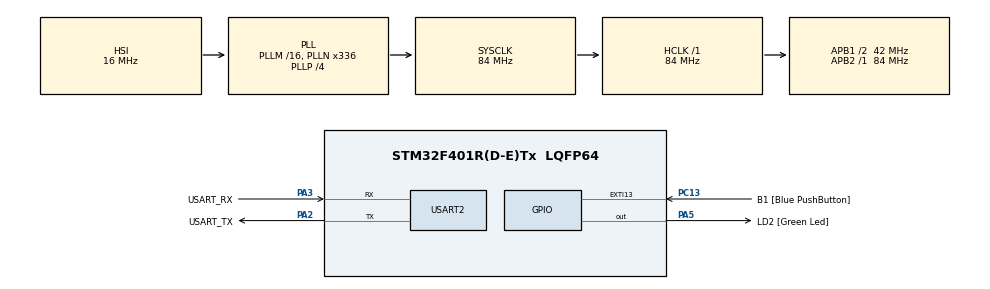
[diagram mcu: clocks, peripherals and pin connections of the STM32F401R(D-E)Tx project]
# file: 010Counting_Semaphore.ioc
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Mcu.Family=STM32F4
Mcu.Name=STM32F401R(D-E)Tx
Mcu.Package=LQFP64
NVIC.EXTI15_10_IRQn=true\:6\:0\:true\:false\:true\:true\:true\:true
NVIC.PriorityGroup=NVIC_PRIORITYGROUP_4
NVIC.TIM2_IRQn=true\:15\:0\:false\:false\:true\:false\:true\:true
NVIC.TimeBase=TIM2_IRQn
NVIC.TimeBaseIP=TIM2
NVIC.USART2_IRQn=true\:6\:0\:true\:false\:true\:true\:true\:true
PA13.GPIO_Label=TMS
PA13.Signal=SYS_JTMS-SWDIO
PA14.GPIO_Label=TCK
PA14.Signal=SYS_JTCK-SWCLK
PA2.GPIO_Label=USART_TX
PA2.GPIO_Mode=GPIO_MODE_AF_PP
PA2.GPIO_PuPd=GPIO_NOPULL
PA2.GPIO_Speed=GPIO_SPEED_FREQ_LOW
PA2.Mode=Asynchronous
PA2.Signal=USART2_TX
PA3.GPIO_Label=USART_RX
PA3.GPIO_Mode=GPIO_MODE_AF_PP
PA3.GPIO_PuPd=GPIO_NOPULL
PA3.GPIO_Speed=GPIO_SPEED_FREQ_LOW
PA3.Mode=Asynchronous
PA3.Signal=USART2_RX
PA5.GPIO_Label=LD2 [Green Led]
PA5.GPIO_Mode=GPIO_MODE_OUTPUT_PP
PA5.GPIO_PuPd=GPIO_NOPULL
PA5.GPIO_Speed=GPIO_SPEED_FREQ_LOW
PA5.Signal=GPIO_Output
PB3.GPIO_Label=SWO
PB3.Signal=SYS_JTDO-SWO
PC13-ANTI_TAMP.GPIO_Label=B1 [Blue PushButton]
PC13-ANTI_TAMP.GPIO_ModeDefaultEXTI=GPIO_MODE_IT_FALLING
PC13-ANTI_TAMP.GPIO_PuPd=GPIO_NOPULL
PC13-ANTI_TAMP.Signal=GPXTI13
PC14-OSC32_IN.Signal=RCC_OSC32_IN
PC15-OSC32_OUT.Signal=RCC_OSC32_OUT
PH0\ -\ OSC_IN.Signal=RCC_OSC_IN
PH1\ -\ OSC_OUT.Signal=RCC_OSC_OUT
ProjectManager.HeapSize=0x200
ProjectManager.StackSize=0x400
ProjectManager.TargetToolchain=STM32CubeIDE
RCC.AHBFreq_Value=84000000
RCC.APB1CLKDivider=RCC_HCLK_DIV2
RCC.APB1Freq_Value=42000000
RCC.APB1TimFreq_Value=84000000
RCC.APB2Freq_Value=84000000
RCC.APB2TimFreq_Value=84000000
RCC.CortexFreq_Value=84000000
RCC.HCLKFreq_Value=84000000
RCC.HSE_VALUE=8000000
RCC.HSI_VALUE=16000000
RCC.LSE_VALUE=32768
RCC.PLLN=336
RCC.PLLP=RCC_PLLP_DIV4
RCC.PLLQ=7
RCC.SYSCLKFreq_VALUE=84000000
RCC.SYSCLKSource=RCC_SYSCLKSOURCE_PLLCLK
RCC.VCOOutputFreq_Value=336000000
USART2.VirtualMode=VM_ASYNC
VP_SYS_VS_tim2.Mode=TIM2
board=NUCLEO-F401RE

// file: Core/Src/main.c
/* USER CODE BEGIN Header */
/**
  ******************************************************************************
  * @file           : main.c
  * @brief          : Main program body
  ******************************************************************************
  * @attention
  *
  * Copyright (c) 2026 STMicroelectronics.
  * All rights reserved.
  *
  * This software is licensed under terms that can be found in the LICENSE file
  * in the root directory of this software component.
  * If no LICENSE file comes with this software, it is provided AS-IS.
  *
  ******************************************************************************
  */
/* USER CODE END Header */
#include "main.h"

/* USER CODE BEGIN Includes */

#include <stdio.h>
#include "FreeRTOS.h"
#include "task.h"
#include "semphr.h"

/* USER CODE END Includes */

UART_HandleTypeDef huart2;

/* USER CODE BEGIN PV */

SemaphoreHandle_t xCountingSemaphore;

/* USER CODE END PV */

void SystemClock_Config(void);
static void MX_GPIO_Init(void);
static void MX_USART2_UART_Init(void);
/* USER CODE BEGIN PFP */

void vHandlerTask(void *argument);
void vPeriodicTask(void *argument);

/* USER CODE END PFP */

/* USER CODE BEGIN 0 */

int __io_putchar(int ch)
{
    HAL_UART_Transmit(&huart2, (uint8_t *)&ch, 1, HAL_MAX_DELAY);
    return ch;
}

/* USER CODE END 0 */

int main(void)
{

  /* MCU Configuration--------------------------------------------------------*/

  /* Reset of all peripherals, Initializes the Flash interface and the Systick. */
  HAL_Init();

  /* Configure the system clock */
  SystemClock_Config();

  /* Initialize all configured peripherals */
  MX_GPIO_Init();
  MX_USART2_UART_Init();
  /* USER CODE BEGIN 2 */

  printf("\r\nCounting Semaphore Demo Started\r\n");

  xCountingSemaphore = xSemaphoreCreateCounting(10, 0);

  HAL_NVIC_SetPriority(EXTI15_10_IRQn, 5, 0);
  HAL_NVIC_EnableIRQ(EXTI15_10_IRQn);

  xTaskCreate(vHandlerTask,
              "HandlerTask",
              256,
              NULL,
              3,
              NULL);

  xTaskCreate(vPeriodicTask,
              "PeriodicTask",
              256,
              NULL,
              2,
              NULL);

  vTaskStartScheduler();

  /* USER CODE END 2 */

  /* Infinite loop */
  while (1)
  {

  }
}

void SystemClock_Config(void)
{
  RCC_OscInitTypeDef RCC_OscInitStruct = {0};
  RCC_ClkInitTypeDef RCC_ClkInitStruct = {0};

  /** Configure the main internal regulator output voltage
  */
  __HAL_RCC_PWR_CLK_ENABLE();
  __HAL_PWR_VOLTAGESCALING_CONFIG(PWR_REGULATOR_VOLTAGE_SCALE2);

  /** Initializes the RCC Oscillators according to the specified parameters
  * in the RCC_OscInitTypeDef structure.
  */
  RCC_OscInitStruct.OscillatorType = RCC_OSCILLATORTYPE_HSI;
  RCC_OscInitStruct.HSIState = RCC_HSI_ON;
  RCC_OscInitStruct.HSICalibrationValue = RCC_HSICALIBRATION_DEFAULT;
  RCC_OscInitStruct.PLL.PLLState = RCC_PLL_ON;
  RCC_OscInitStruct.PLL.PLLSource = RCC_PLLSOURCE_HSI;
  RCC_OscInitStruct.PLL.PLLM = 16;
  RCC_OscInitStruct.PLL.PLLN = 336;
  RCC_OscInitStruct.PLL.PLLP = RCC_PLLP_DIV4;
  RCC_OscInitStruct.PLL.PLLQ = 7;
  if (HAL_RCC_OscConfig(&RCC_OscInitStruct) != HAL_OK)
  {
    Error_Handler();
  }

  /** Initializes the CPU, AHB and APB buses clocks
  */
  RCC_ClkInitStruct.ClockType = RCC_CLOCKTYPE_HCLK|RCC_CLOCKTYPE_SYSCLK
                              |RCC_CLOCKTYPE_PCLK1|RCC_CLOCKTYPE_PCLK2;
  RCC_ClkInitStruct.SYSCLKSource = RCC_SYSCLKSOURCE_PLLCLK;
  RCC_ClkInitStruct.AHBCLKDivider = RCC_SYSCLK_DIV1;
  RCC_ClkInitStruct.APB1CLKDivider = RCC_HCLK_DIV2;
  RCC_ClkInitStruct.APB2CLKDivider = RCC_HCLK_DIV1;

  if (HAL_RCC_ClockConfig(&RCC_ClkInitStruct, FLASH_LATENCY_2) != HAL_OK)
  {
    Error_Handler();
  }
}

static void MX_USART2_UART_Init(void)
{

  huart2.Instance = USART2;
  huart2.Init.BaudRate = 115200;
  huart2.Init.WordLength = UART_WORDLENGTH_8B;
  huart2.Init.StopBits = UART_STOPBITS_1;
  huart2.Init.Parity = UART_PARITY_NONE;
  huart2.Init.Mode = UART_MODE_TX_RX;
  huart2.Init.HwFlowCtl = UART_HWCONTROL_NONE;
  huart2.Init.OverSampling = UART_OVERSAMPLING_16;
  if (HAL_UART_Init(&huart2) != HAL_OK)
  {
    Error_Handler();
  }

}

static void MX_GPIO_Init(void)
{
  GPIO_InitTypeDef GPIO_InitStruct = {0};

  /* GPIO Ports Clock Enable */
  __HAL_RCC_GPIOC_CLK_ENABLE();
  __HAL_RCC_GPIOH_CLK_ENABLE();
  __HAL_RCC_GPIOA_CLK_ENABLE();
  __HAL_RCC_GPIOB_CLK_ENABLE();

  /*Configure GPIO pin Output Level */
  HAL_GPIO_WritePin(LD2_GPIO_Port, LD2_Pin, GPIO_PIN_RESET);

  /*Configure GPIO pin : B1_Pin */
  GPIO_InitStruct.Pin = B1_Pin;
  GPIO_InitStruct.Mode = GPIO_MODE_IT_FALLING;
  GPIO_InitStruct.Pull = GPIO_NOPULL;
  HAL_GPIO_Init(B1_GPIO_Port, &GPIO_InitStruct);

  /*Configure GPIO pin : LD2_Pin */
  GPIO_InitStruct.Pin = LD2_Pin;
  GPIO_InitStruct.Mode = GPIO_MODE_OUTPUT_PP;
  GPIO_InitStruct.Pull = GPIO_NOPULL;
  GPIO_InitStruct.Speed = GPIO_SPEED_FREQ_LOW;
  HAL_GPIO_Init(LD2_GPIO_Port, &GPIO_InitStruct);

  /* EXTI interrupt init*/
  HAL_NVIC_SetPriority(EXTI15_10_IRQn, 6, 0);
  HAL_NVIC_EnableIRQ(EXTI15_10_IRQn);

}

/* USER CODE BEGIN 4 */

void vHandlerTask(void *argument)
{
    while(1)
    {
        xSemaphoreTake(xCountingSemaphore, portMAX_DELAY);

        printf("Handler Task: Event processed\r\n");
    }
}

void vPeriodicTask(void *argument)
{
    while(1)
    {
        vTaskDelay(pdMS_TO_TICKS(2000));

        printf("\r\nPeriodic Task: Trigger interrupt\r\n");

        NVIC_SetPendingIRQ(EXTI15_10_IRQn);

        printf("Periodic Task: Interrupt triggered\r\n");
    }
}

/* USER CODE END 4 */

void HAL_TIM_PeriodElapsedCallback(TIM_HandleTypeDef *htim)
{
  if (htim->Instance == TIM2) {
    HAL_IncTick();
  }
}

void Error_Handler(void)
{
  __disable_irq();
  while (1)
  {
  }
}
